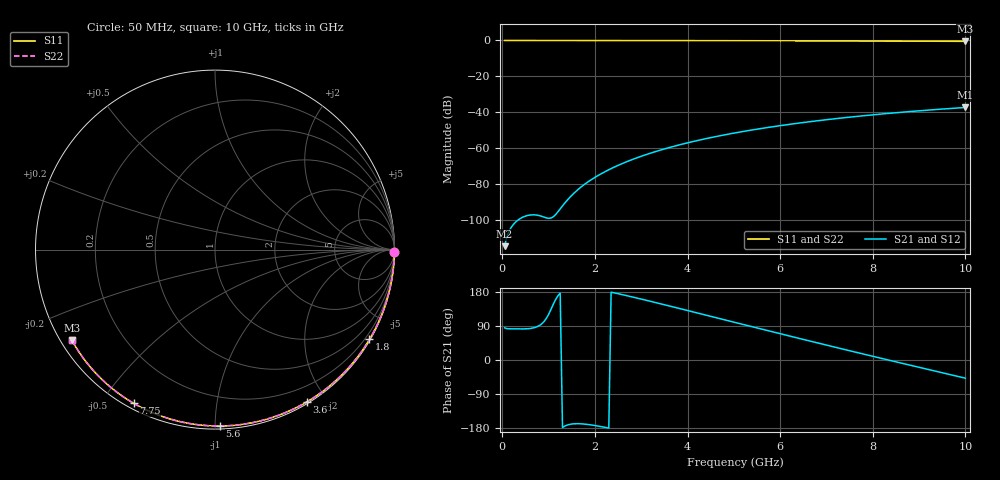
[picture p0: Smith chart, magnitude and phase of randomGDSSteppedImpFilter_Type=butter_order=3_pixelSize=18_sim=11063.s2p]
! freq	dB(S11)	phase(S11)	dB(S12)	phase(S12)
!  dB(S21)	phase(S21)	dB(S22)	phase(S22)
!S-par simulation data
#  GHz  S  DB  R 50
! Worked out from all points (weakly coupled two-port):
!   200 points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, 50 MHz to 10 GHz, reference 50 ohm
!   highest |S21| = -37.25 dB at 10 GHz (marker M1); lowest = -114.4 dB at 50 MHz (marker M2)
!   lowest |S11| = -0.5 dB at 10 GHz (marker M3), VSWR 34.71, Z = 1.56 - j14.5 ohm
!   |S11| at or under -10 dB: nowhere
!   |S22| runs from -0.5 to 0.0 dB; largest |S21 - S12| = 0
!   S11 on the Smith chart (normalised r, x): 50 MHz: open; 1.8 GHz: 0.03, -3.71; 3.6 GHz: 0.02, -1.77; 5.6 GHz: 0.02, -1.03; 7.75 GHz: 0.02, -0.60; 10 GHz: 0.03, -0.29
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0.05  -0.00 -0.9  -114.39 84.8  -114.39 84.8  -0.00 -0.9
0.45  -0.01 -7.7  -98.16 82.0  -98.16 82.0  -0.01 -7.7
0.9  -0.02 -15.2  -98.22 101.3  -98.22 101.3  -0.02 -15.2
1.75  -0.04 -29.3  -80.50 -168.9  -80.50 -168.9  -0.04 -29.3
1.8  -0.04 -30.2  -79.55 -169.5  -79.55 -169.5  -0.04 -30.2
1.95  -0.04 -32.6  -76.93 -171.9  -76.93 -171.9  -0.04 -32.6
2.1  -0.04 -35.1  -74.62 -175.0  -74.62 -175.0  -0.04 -35.1
2.3  -0.05 -38.3  -71.88 -179.7  -71.88 -179.7  -0.05 -38.3
2.5  -0.05 -41.5  -69.46 175.0  -69.46 175.0  -0.05 -41.5
2.9  -0.06 -47.9  -65.31 163.7  -65.31 163.7  -0.06 -47.9
3.4  -0.07 -55.8  -61.07 148.9  -61.07 148.9  -0.07 -55.8
3.6  -0.08 -58.8  -59.59 142.8  -59.59 142.8  -0.08 -58.8
4.3  -0.10 -69.5  -55.14 121.4  -55.14 121.4  -0.10 -69.5
5.05  -0.12 -80.5  -51.29 98.4  -51.29 98.4  -0.12 -80.5
5.6  -0.15 -88.4  -48.91 81.6  -48.91 81.6  -0.15 -88.4
6.15  -0.17 -96.2  -46.83 64.8  -46.83 64.8  -0.17 -96.2
6.7  -0.20 -103.7  -44.98 48.3  -44.98 48.3  -0.20 -103.7
7.2  -0.23 -110.5  -43.47 33.3  -43.47 33.3  -0.23 -110.5
7.75  -0.27 -117.9  -41.98 17.1  -41.98 17.1  -0.27 -117.9
8.35  -0.32 -125.8  -40.53 -0.5  -40.53 -0.5  -0.32 -125.8
9.2  -0.41 -137.0  -38.72 -25.1  -38.72 -25.1  -0.41 -137.0
10  -0.50 -147.6  -37.25 -48.0  -37.25 -48.0  -0.50 -147.6
